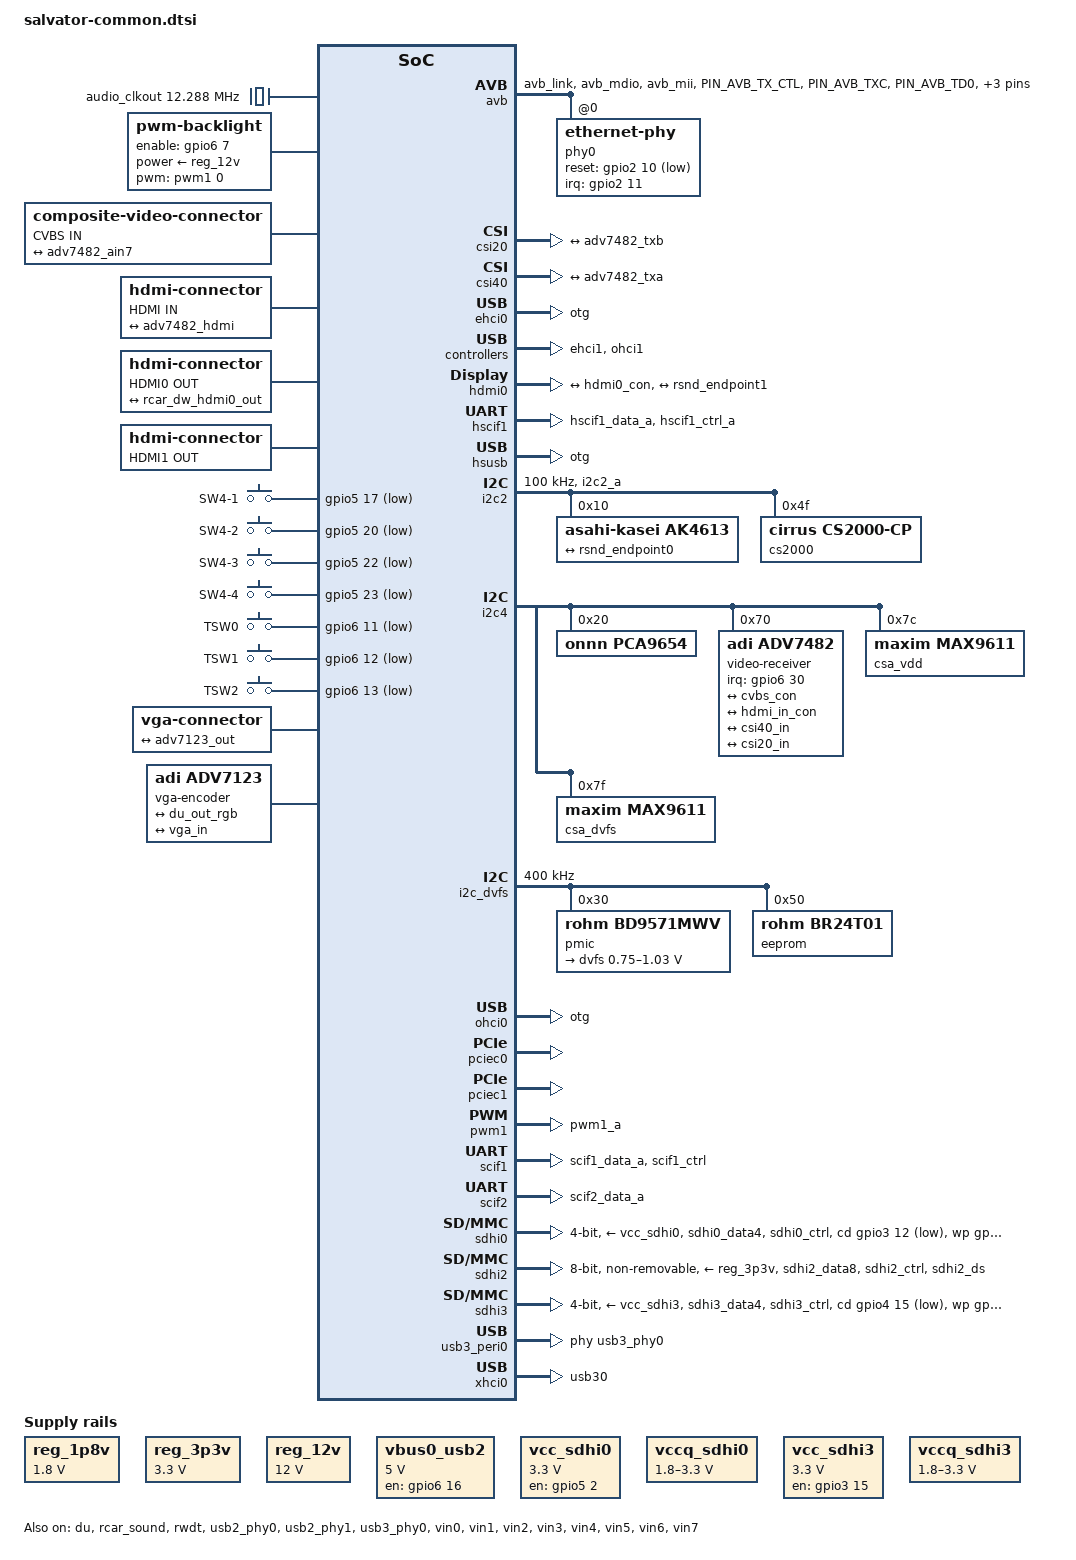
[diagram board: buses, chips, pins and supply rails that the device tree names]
// SPDX-License-Identifier: GPL-2.0
/*
 * Device Tree Source for common parts of Salvator-X board variants
 *
 * Copyright (C) 2015-2016 Renesas Electronics Corp.
 */

/*
 * SSI-AK4613
 *
 * This command is required when Playback/Capture
 *
 *	amixer set "DVC Out" 100%
 *	amixer set "DVC In" 100%
 *
 * You can use Mute
 *
 *	amixer set "DVC Out Mute" on
 *	amixer set "DVC In Mute" on
 *
 * You can use Volume Ramp
 *
 *	amixer set "DVC Out Ramp Up Rate"   "0.125 dB/64 steps"
 *	amixer set "DVC Out Ramp Down Rate" "0.125 dB/512 steps"
 *	amixer set "DVC Out Ramp" on
 *	aplay xxx.wav &
 *	amixer set "DVC Out"  80%  // Volume Down
 *	amixer set "DVC Out" 100%  // Volume Up
 */

#include <dt-bindings/gpio/gpio.h>
#include <dt-bindings/input/input.h>

/ {
	aliases {
		serial0 = &scif2;
		serial1 = &hscif1;
		ethernet0 = &avb;
		mmc0 = &sdhi2;
		mmc1 = &sdhi0;
		mmc2 = &sdhi3;
	};

	chosen {
		bootargs = "ignore_loglevel rw root=/dev/nfs ip=on";
		stdout-path = "serial0:115200n8";
	};

	audio_clkout: audio-clkout {
		/*
		 * This is same as <&rcar_sound 0>
		 * but needed to avoid cs2000/rcar_sound probe dead-lock
		 */
		compatible = "fixed-clock";
		#clock-cells = <0>;
		clock-frequency = <12288000>;
	};

	backlight: backlight {
		compatible = "pwm-backlight";
		pwms = <&pwm1 0 50000>;

		brightness-levels = <256 128 64 16 8 4 0>;
		default-brightness-level = <6>;

		power-supply = <&reg_12v>;
		enable-gpios = <&gpio6 7 GPIO_ACTIVE_HIGH>;
	};

	cvbs-in {
		compatible = "composite-video-connector";
		label = "CVBS IN";

		port {
			cvbs_con: endpoint {
				remote-endpoint = <&adv7482_ain7>;
			};
		};
	};

	hdmi-in {
		compatible = "hdmi-connector";
		label = "HDMI IN";
		type = "a";

		port {
			hdmi_in_con: endpoint {
				remote-endpoint = <&adv7482_hdmi>;
			};
		};
	};

	hdmi0-out {
		compatible = "hdmi-connector";
		label = "HDMI0 OUT";
		type = "a";

		port {
			hdmi0_con: endpoint {
			};
		};
	};

	hdmi1-out {
		compatible = "hdmi-connector";
		label = "HDMI1 OUT";
		type = "a";

		port {
			hdmi1_con: endpoint {
			};
		};
	};

	keys {
		compatible = "gpio-keys";

		pinctrl-0 = <&keys_pins>;
		pinctrl-names = "default";

		key-1 {
			gpios = <&gpio5 17 GPIO_ACTIVE_LOW>;
			linux,code = <KEY_1>;
			label = "SW4-1";
			wakeup-source;
			debounce-interval = <20>;
		};
		key-2 {
			gpios = <&gpio5 20 GPIO_ACTIVE_LOW>;
			linux,code = <KEY_2>;
			label = "SW4-2";
			wakeup-source;
			debounce-interval = <20>;
		};
		key-3 {
			gpios = <&gpio5 22 GPIO_ACTIVE_LOW>;
			linux,code = <KEY_3>;
			label = "SW4-3";
			wakeup-source;
			debounce-interval = <20>;
		};
		key-4 {
			gpios = <&gpio5 23 GPIO_ACTIVE_LOW>;
			linux,code = <KEY_4>;
			label = "SW4-4";
			wakeup-source;
			debounce-interval = <20>;
		};
		key-a {
			gpios = <&gpio6 11 GPIO_ACTIVE_LOW>;
			linux,code = <KEY_A>;
			label = "TSW0";
			wakeup-source;
			debounce-interval = <20>;
		};
		key-b {
			gpios = <&gpio6 12 GPIO_ACTIVE_LOW>;
			linux,code = <KEY_B>;
			label = "TSW1";
			wakeup-source;
			debounce-interval = <20>;
		};
		key-c {
			gpios = <&gpio6 13 GPIO_ACTIVE_LOW>;
			linux,code = <KEY_C>;
			label = "TSW2";
			wakeup-source;
			debounce-interval = <20>;
		};
	};

	reg_1p8v: regulator0 {
		compatible = "regulator-fixed";
		regulator-name = "fixed-1.8V";
		regulator-min-microvolt = <1800000>;
		regulator-max-microvolt = <1800000>;
		regulator-boot-on;
		regulator-always-on;
	};

	reg_3p3v: regulator1 {
		compatible = "regulator-fixed";
		regulator-name = "fixed-3.3V";
		regulator-min-microvolt = <3300000>;
		regulator-max-microvolt = <3300000>;
		regulator-boot-on;
		regulator-always-on;
	};

	reg_12v: regulator2 {
		compatible = "regulator-fixed";
		regulator-name = "fixed-12V";
		regulator-min-microvolt = <12000000>;
		regulator-max-microvolt = <12000000>;
		regulator-boot-on;
		regulator-always-on;
	};

	sound_card: sound {
		compatible = "audio-graph-card";

		label = "rcar-sound";

		dais = <&rsnd_port0	/* ak4613 */
			&rsnd_port1>;	/* HDMI0  */
	};

	vbus0_usb2: regulator-vbus0-usb2 {
		compatible = "regulator-fixed";

		regulator-name = "USB20_VBUS0";
		regulator-min-microvolt = <5000000>;
		regulator-max-microvolt = <5000000>;

		gpio = <&gpio6 16 GPIO_ACTIVE_HIGH>;
		enable-active-high;
	};

	vcc_sdhi0: regulator-vcc-sdhi0 {
		compatible = "regulator-fixed";

		regulator-name = "SDHI0 Vcc";
		regulator-min-microvolt = <3300000>;
		regulator-max-microvolt = <3300000>;

		gpio = <&gpio5 2 GPIO_ACTIVE_HIGH>;
		enable-active-high;
	};

	vccq_sdhi0: regulator-vccq-sdhi0 {
		compatible = "regulator-gpio";

		regulator-name = "SDHI0 VccQ";
		regulator-min-microvolt = <1800000>;
		regulator-max-microvolt = <3300000>;

		gpios = <&gpio5 1 GPIO_ACTIVE_HIGH>;
		gpios-states = <1>;
		states = <3300000 1>, <1800000 0>;
	};

	vcc_sdhi3: regulator-vcc-sdhi3 {
		compatible = "regulator-fixed";

		regulator-name = "SDHI3 Vcc";
		regulator-min-microvolt = <3300000>;
		regulator-max-microvolt = <3300000>;

		gpio = <&gpio3 15 GPIO_ACTIVE_HIGH>;
		enable-active-high;
	};

	vccq_sdhi3: regulator-vccq-sdhi3 {
		compatible = "regulator-gpio";

		regulator-name = "SDHI3 VccQ";
		regulator-min-microvolt = <1800000>;
		regulator-max-microvolt = <3300000>;

		gpios = <&gpio3 14 GPIO_ACTIVE_HIGH>;
		gpios-states = <1>;
		states = <3300000 1>, <1800000 0>;
	};

	vga {
		compatible = "vga-connector";

		port {
			vga_in: endpoint {
				remote-endpoint = <&adv7123_out>;
			};
		};
	};

	vga-encoder {
		compatible = "adi,adv7123";

		ports {
			#address-cells = <1>;
			#size-cells = <0>;

			port@0 {
				reg = <0>;
				adv7123_in: endpoint {
					remote-endpoint = <&du_out_rgb>;
				};
			};
			port@1 {
				reg = <1>;
				adv7123_out: endpoint {
					remote-endpoint = <&vga_in>;
				};
			};
		};
	};

	x12_clk: x12 {
		compatible = "fixed-clock";
		#clock-cells = <0>;
		clock-frequency = <24576000>;
	};

	/* External DU dot clocks */
	x21_clk: x21-clock {
		compatible = "fixed-clock";
		#clock-cells = <0>;
		clock-frequency = <33000000>;
	};

	x22_clk: x22-clock {
		compatible = "fixed-clock";
		#clock-cells = <0>;
		clock-frequency = <33000000>;
	};

	x23_clk: x23-clock {
		compatible = "fixed-clock";
		#clock-cells = <0>;
		clock-frequency = <25000000>;
	};
};

&a57_0 {
	cpu-supply = <&dvfs>;
};

&audio_clk_a {
	clock-frequency = <22579200>;
};

&avb {
	pinctrl-0 = <&avb_pins>;
	pinctrl-names = "default";
	phy-handle = <&phy0>;
	tx-internal-delay-ps = <2000>;
	status = "okay";

	phy0: ethernet-phy@0 {
		rxc-skew-ps = <1500>;
		reg = <0>;
		interrupt-parent = <&gpio2>;
		interrupts = <11 IRQ_TYPE_LEVEL_LOW>;
		reset-gpios = <&gpio2 10 GPIO_ACTIVE_LOW>;
	};
};

&csi20 {
	status = "okay";

	ports {
		port@0 {
			csi20_in: endpoint {
				clock-lanes = <0>;
				data-lanes = <1>;
				remote-endpoint = <&adv7482_txb>;
			};
		};
	};
};

&csi40 {
	status = "okay";

	ports {
		port@0 {
			csi40_in: endpoint {
				clock-lanes = <0>;
				data-lanes = <1 2 3 4>;
				remote-endpoint = <&adv7482_txa>;
			};
		};
	};
};

&du {
	pinctrl-0 = <&du_pins>;
	pinctrl-names = "default";
	status = "okay";

	ports {
		port@0 {
			endpoint {
				remote-endpoint = <&adv7123_in>;
			};
		};
	};
};

&ehci0 {
	dr_mode = "otg";
	status = "okay";
};

&ehci1 {
	status = "okay";
};

&extalr_clk {
	clock-frequency = <32768>;
};

&hdmi0 {
	status = "okay";

	ports {
		port@1 {
			reg = <1>;
			rcar_dw_hdmi0_out: endpoint {
				remote-endpoint = <&hdmi0_con>;
			};
		};
		port@2 {
			reg = <2>;
			dw_hdmi0_snd_in: endpoint {
				remote-endpoint = <&rsnd_endpoint1>;
			};
		};
	};
};

&hdmi0_con {
	remote-endpoint = <&rcar_dw_hdmi0_out>;
};

&hscif1 {
	pinctrl-0 = <&hscif1_pins>;
	pinctrl-names = "default";

	uart-has-rtscts;
	/* Please only enable hscif1 or scif1 */
	status = "okay";
};

&hsusb {
	dr_mode = "otg";
	status = "okay";
};

&i2c2 {
	pinctrl-0 = <&i2c2_pins>;
	pinctrl-names = "default";

	status = "okay";

	clock-frequency = <100000>;

	ak4613: codec@10 {
		compatible = "asahi-kasei,ak4613";
		#sound-dai-cells = <0>;
		reg = <0x10>;
		clocks = <&rcar_sound 3>;

		asahi-kasei,in1-single-end;
		asahi-kasei,in2-single-end;
		asahi-kasei,out1-single-end;
		asahi-kasei,out2-single-end;
		asahi-kasei,out3-single-end;
		asahi-kasei,out4-single-end;
		asahi-kasei,out5-single-end;
		asahi-kasei,out6-single-end;

		port {
			ak4613_endpoint: endpoint {
				remote-endpoint = <&rsnd_endpoint0>;
			};
		};
	};

	cs2000: clk_multiplier@4f {
		#clock-cells = <0>;
		compatible = "cirrus,cs2000-cp";
		reg = <0x4f>;
		clocks = <&audio_clkout>, <&x12_clk>;
		clock-names = "clk_in", "ref_clk";

		assigned-clocks = <&cs2000>;
		assigned-clock-rates = <24576000>; /* 1/1 divide */
	};
};

&i2c4 {
	status = "okay";

	pca9654: gpio@20 {
		compatible = "onnn,pca9654";
		reg = <0x20>;
		gpio-controller;
		#gpio-cells = <2>;
	};

	video-receiver@70 {
		compatible = "adi,adv7482";
		reg = <0x70 0x71 0x72 0x73 0x74 0x75
		       0x60 0x61 0x62 0x63 0x64 0x65>;
		reg-names = "main", "dpll", "cp", "hdmi", "edid", "repeater",
			    "infoframe", "cbus", "cec", "sdp", "txa", "txb" ;

		#address-cells = <1>;
		#size-cells = <0>;

		interrupt-parent = <&gpio6>;
		interrupt-names = "intrq1", "intrq2";
		interrupts = <30 IRQ_TYPE_LEVEL_LOW>,
			     <31 IRQ_TYPE_LEVEL_LOW>;

		port@7 {
			reg = <7>;

			adv7482_ain7: endpoint {
				remote-endpoint = <&cvbs_con>;
			};
		};

		port@8 {
			reg = <8>;

			adv7482_hdmi: endpoint {
				remote-endpoint = <&hdmi_in_con>;
			};
		};

		port@a {
			reg = <10>;

			adv7482_txa: endpoint {
				clock-lanes = <0>;
				data-lanes = <1 2 3 4>;
				remote-endpoint = <&csi40_in>;
			};
		};

		port@b {
			reg = <11>;

			adv7482_txb: endpoint {
				clock-lanes = <0>;
				data-lanes = <1>;
				remote-endpoint = <&csi20_in>;
			};
		};
	};

	csa_vdd: adc@7c {
		compatible = "maxim,max9611";
		reg = <0x7c>;

		shunt-resistor-micro-ohms = <5000>;
	};

	csa_dvfs: adc@7f {
		compatible = "maxim,max9611";
		reg = <0x7f>;

		shunt-resistor-micro-ohms = <5000>;
	};
};

&i2c_dvfs {
	status = "okay";

	clock-frequency = <400000>;

	pmic: pmic@30 {
		pinctrl-0 = <&irq0_pins>;
		pinctrl-names = "default";

		compatible = "rohm,bd9571mwv";
		reg = <0x30>;
		interrupt-parent = <&intc_ex>;
		interrupts = <0 IRQ_TYPE_LEVEL_LOW>;
		interrupt-controller;
		#interrupt-cells = <2>;
		gpio-controller;
		#gpio-cells = <2>;
		rohm,ddr-backup-power = <0xf>;
		rohm,rstbmode-level;

		regulators {
			dvfs: dvfs {
				regulator-name = "dvfs";
				regulator-min-microvolt = <750000>;
				regulator-max-microvolt = <1030000>;
				regulator-boot-on;
				regulator-always-on;
			};
		};
	};

	eeprom@50 {
		compatible = "rohm,br24t01", "atmel,24c01";
		reg = <0x50>;
		pagesize = <8>;
	};
};

&ohci0 {
	dr_mode = "otg";
	status = "okay";
};

&ohci1 {
	status = "okay";
};

&pcie_bus_clk {
	clock-frequency = <100000000>;
};

&pciec0 {
	status = "okay";
};

&pciec1 {
	status = "okay";
};

&pfc {
	pinctrl-0 = <&scif_clk_pins>;
	pinctrl-names = "default";

	avb_pins: avb {
		mux {
			groups = "avb_link", "avb_mdio", "avb_mii";
			function = "avb";
		};

		pins_mdio {
			groups = "avb_mdio";
			drive-strength = <24>;
		};

		pins_mii_tx {
			pins = "PIN_AVB_TX_CTL", "PIN_AVB_TXC", "PIN_AVB_TD0",
			       "PIN_AVB_TD1", "PIN_AVB_TD2", "PIN_AVB_TD3";
			drive-strength = <12>;
		};
	};

	du_pins: du {
		groups = "du_rgb888", "du_sync", "du_oddf", "du_clk_out_0";
		function = "du";
	};

	hscif1_pins: hscif1 {
		groups = "hscif1_data_a", "hscif1_ctrl_a";
		function = "hscif1";
	};

	i2c2_pins: i2c2 {
		groups = "i2c2_a";
		function = "i2c2";
	};

	irq0_pins: irq0 {
		groups = "intc_ex_irq0";
		function = "intc_ex";
	};

	keys_pins: keys {
		pins = "GP_5_17", "GP_5_20", "GP_5_22";
		bias-pull-up;
	};

	pwm1_pins: pwm1 {
		groups = "pwm1_a";
		function = "pwm1";
	};

	scif1_pins: scif1 {
		groups = "scif1_data_a", "scif1_ctrl";
		function = "scif1";
	};

	scif2_pins: scif2 {
		groups = "scif2_data_a";
		function = "scif2";
	};

	scif_clk_pins: scif_clk {
		groups = "scif_clk_a";
		function = "scif_clk";
	};

	sdhi0_pins: sd0 {
		groups = "sdhi0_data4", "sdhi0_ctrl";
		function = "sdhi0";
		power-source = <3300>;
	};

	sdhi0_pins_uhs: sd0_uhs {
		groups = "sdhi0_data4", "sdhi0_ctrl";
		function = "sdhi0";
		power-source = <1800>;
	};

	sdhi2_pins: sd2 {
		groups = "sdhi2_data8", "sdhi2_ctrl", "sdhi2_ds";
		function = "sdhi2";
		power-source = <1800>;
	};

	sdhi3_pins: sd3 {
		groups = "sdhi3_data4", "sdhi3_ctrl";
		function = "sdhi3";
		power-source = <3300>;
	};

	sdhi3_pins_uhs: sd3_uhs {
		groups = "sdhi3_data4", "sdhi3_ctrl";
		function = "sdhi3";
		power-source = <1800>;
	};

	sound_pins: sound {
		groups = "ssi01239_ctrl", "ssi0_data", "ssi1_data_a";
		function = "ssi";
	};

	sound_clk_pins: sound_clk {
		groups = "audio_clk_a_a", "audio_clk_b_a", "audio_clk_c_a",
			 "audio_clkout_a", "audio_clkout3_a";
		function = "audio_clk";
	};

	usb0_pins: usb0 {
		groups = "usb0";
		function = "usb0";
	};

	usb1_pins: usb1 {
		mux {
			groups = "usb1";
			function = "usb1";
		};

		ovc {
			pins = "GP_6_27";
			bias-pull-up;
		};

		pwen {
			pins = "GP_6_26";
			bias-pull-down;
		};
	};

	usb30_pins: usb30 {
		groups = "usb30";
		function = "usb30";
	};
};

&pwm1 {
	pinctrl-0 = <&pwm1_pins>;
	pinctrl-names = "default";

	status = "okay";
};

&rcar_sound {
	pinctrl-0 = <&sound_pins>, <&sound_clk_pins>;
	pinctrl-names = "default";

	/* Single DAI */
	#sound-dai-cells = <0>;

	/* audio_clkout0/1/2/3 */
	#clock-cells = <1>;
	clock-frequency = <12288000 11289600>;

	status = "okay";

	/* update <audio_clk_b> to <cs2000> */
	clocks = <&cpg CPG_MOD 1005>,
		 <&cpg CPG_MOD 1006>, <&cpg CPG_MOD 1007>,
		 <&cpg CPG_MOD 1008>, <&cpg CPG_MOD 1009>,
		 <&cpg CPG_MOD 1010>, <&cpg CPG_MOD 1011>,
		 <&cpg CPG_MOD 1012>, <&cpg CPG_MOD 1013>,
		 <&cpg CPG_MOD 1014>, <&cpg CPG_MOD 1015>,
		 <&cpg CPG_MOD 1022>, <&cpg CPG_MOD 1023>,
		 <&cpg CPG_MOD 1024>, <&cpg CPG_MOD 1025>,
		 <&cpg CPG_MOD 1026>, <&cpg CPG_MOD 1027>,
		 <&cpg CPG_MOD 1028>, <&cpg CPG_MOD 1029>,
		 <&cpg CPG_MOD 1030>, <&cpg CPG_MOD 1031>,
		 <&cpg CPG_MOD 1020>, <&cpg CPG_MOD 1021>,
		 <&cpg CPG_MOD 1020>, <&cpg CPG_MOD 1021>,
		 <&cpg CPG_MOD 1019>, <&cpg CPG_MOD 1018>,
		 <&audio_clk_a>, <&cs2000>,
		 <&audio_clk_c>,
		 <&cpg CPG_CORE CPG_AUDIO_CLK_I>;

	ports {
		#address-cells = <1>;
		#size-cells = <0>;
		rsnd_port0: port@0 {
			reg = <0>;
			rsnd_endpoint0: endpoint {
				remote-endpoint = <&ak4613_endpoint>;

				dai-format = "left_j";
				bitclock-master = <&rsnd_endpoint0>;
				frame-master = <&rsnd_endpoint0>;

				playback = <&ssi0>, <&src0>, <&dvc0>;
				capture  = <&ssi1>, <&src1>, <&dvc1>;
			};
		};

		rsnd_port1: port@1 {
			reg = <1>;
			rsnd_endpoint1: endpoint {
				remote-endpoint = <&dw_hdmi0_snd_in>;

				dai-format = "i2s";
				bitclock-master = <&rsnd_endpoint1>;
				frame-master = <&rsnd_endpoint1>;

				playback = <&ssi2>;
			};
		};
	};
};

&rwdt {
	timeout-sec = <60>;
	status = "okay";
};

&scif1 {
	pinctrl-0 = <&scif1_pins>;
	pinctrl-names = "default";

	uart-has-rtscts;
	/* Please only enable hscif1 or scif1 */
	/* status = "okay"; */
};

&scif2 {
	pinctrl-0 = <&scif2_pins>;
	pinctrl-names = "default";

	status = "okay";
};

&scif_clk {
	clock-frequency = <14745600>;
};

&sdhi0 {
	pinctrl-0 = <&sdhi0_pins>;
	pinctrl-1 = <&sdhi0_pins_uhs>;
	pinctrl-names = "default", "state_uhs";

	vmmc-supply = <&vcc_sdhi0>;
	vqmmc-supply = <&vccq_sdhi0>;
	cd-gpios = <&gpio3 12 GPIO_ACTIVE_LOW>;
	wp-gpios = <&gpio3 13 GPIO_ACTIVE_HIGH>;
	bus-width = <4>;
	sd-uhs-sdr50;
	sd-uhs-sdr104;
	status = "okay";
};

&sdhi2 {
	/* used for on-board 8bit eMMC */
	pinctrl-0 = <&sdhi2_pins>;
	pinctrl-1 = <&sdhi2_pins>;
	pinctrl-names = "default", "state_uhs";

	vmmc-supply = <&reg_3p3v>;
	vqmmc-supply = <&reg_1p8v>;
	bus-width = <8>;
	mmc-hs200-1_8v;
	mmc-hs400-1_8v;
	no-sd;
	no-sdio;
	non-removable;
	fixed-emmc-driver-type = <1>;
	full-pwr-cycle-in-suspend;
	status = "okay";
};

&sdhi3 {
	pinctrl-0 = <&sdhi3_pins>;
	pinctrl-1 = <&sdhi3_pins_uhs>;
	pinctrl-names = "default", "state_uhs";

	vmmc-supply = <&vcc_sdhi3>;
	vqmmc-supply = <&vccq_sdhi3>;
	cd-gpios = <&gpio4 15 GPIO_ACTIVE_LOW>;
	wp-gpios = <&gpio4 16 GPIO_ACTIVE_HIGH>;
	bus-width = <4>;
	sd-uhs-sdr50;
	sd-uhs-sdr104;
	status = "okay";
};

&ssi1 {
	shared-pin;
};

&usb_extal_clk {
	clock-frequency = <50000000>;
};

&usb2_phy0 {
	pinctrl-0 = <&usb0_pins>;
	pinctrl-names = "default";

	vbus-supply = <&vbus0_usb2>;
	status = "okay";
};

&usb2_phy1 {
	pinctrl-0 = <&usb1_pins>;
	pinctrl-names = "default";

	status = "okay";
};

&usb3_peri0 {
	phys = <&usb3_phy0>;
	phy-names = "usb";

	companion = <&xhci0>;

	status = "okay";
};

&usb3_phy0 {
	status = "okay";
};

&usb3s0_clk {
	clock-frequency = <100000000>;
};

&vin0 {
	status = "okay";
};

&vin1 {
	status = "okay";
};

&vin2 {
	status = "okay";
};

&vin3 {
	status = "okay";
};

&vin4 {
	status = "okay";
};

&vin5 {
	status = "okay";
};

&vin6 {
	status = "okay";
};

&vin7 {
	status = "okay";
};

&xhci0 {
	pinctrl-0 = <&usb30_pins>;
	pinctrl-names = "default";

	status = "okay";
};
